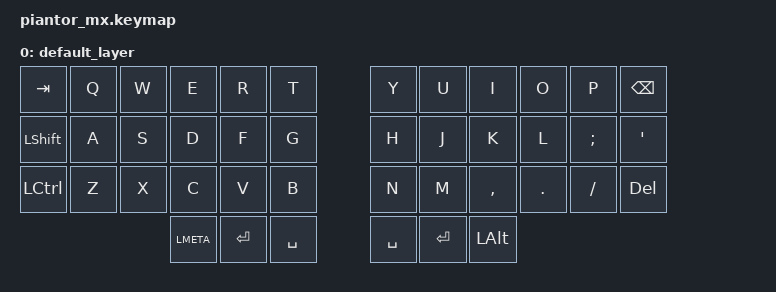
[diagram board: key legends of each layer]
/*
 * Copyright (c) 2024 The ZMK Contributors
 *
 * SPDX-License-Identifier: MIT
 */

#include <behaviors.dtsi>
#include <dt-bindings/zmk/keys.h>

/ {
	keymap {
		compatible = "zmk,keymap";

		default_layer {
			bindings = <
				  &kp TAB &kp Q &kp W &kp E &kp R &kp T /**/ &kp Y &kp U &kp I &kp O &kp P &kp BACKSPACE
				&kp LSHFT &kp A &kp S &kp D &kp F &kp G /**/ &kp H &kp J &kp K &kp L &kp SEMI &kp SQT
				&kp LCTRL &kp Z &kp X &kp C &kp V &kp B /**/ &kp N &kp M &kp COMMA &kp PERIOD &kp SLASH &kp DELETE
				         &kp LMETA &kp RETURN &kp SPACE /**/ &kp SPACE &kp RETURN &kp LALT
			>;
		};
	};
};
